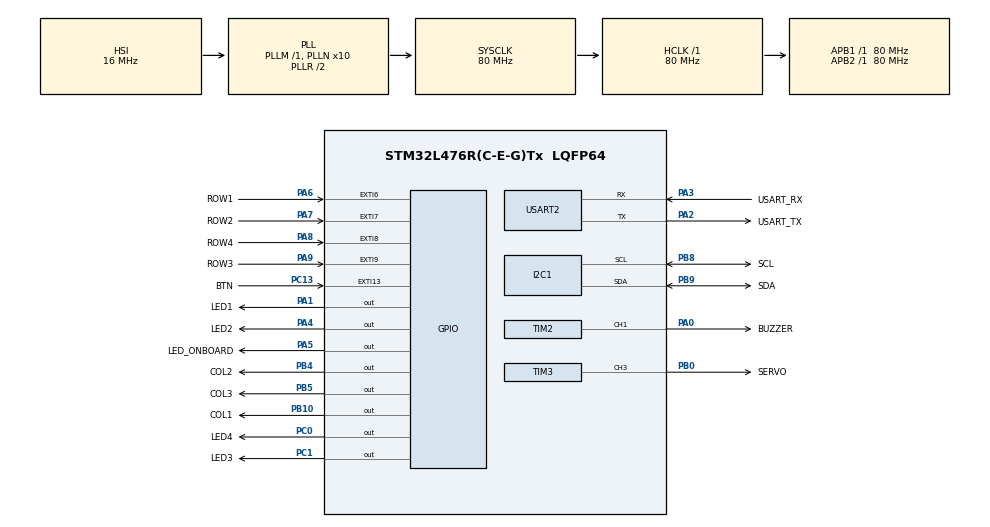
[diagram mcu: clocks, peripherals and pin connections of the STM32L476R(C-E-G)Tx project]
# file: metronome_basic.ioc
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I2C1.Timing=0x10D19CE4
Mcu.Family=STM32L4
Mcu.Name=STM32L476R(C-E-G)Tx
Mcu.Package=LQFP64
NVIC.EXTI15_10_IRQn=true\:0\:0\:false\:false\:true\:true\:true\:true
NVIC.EXTI9_5_IRQn=true\:0\:0\:false\:false\:true\:true\:true\:true
NVIC.PriorityGroup=NVIC_PRIORITYGROUP_4
NVIC.TIM5_IRQn=true\:0\:0\:false\:false\:true\:true\:true\:true
PA0.GPIO_Label=BUZZER
PA0.Signal=S_TIM2_CH1
PA1.GPIO_Label=LED1
PA1.Signal=GPIO_Output
PA13\ (JTMS-SWDIO).GPIO_Label=TMS
PA13\ (JTMS-SWDIO).Signal=SYS_JTMS-SWDIO
PA14\ (JTCK-SWCLK).GPIO_Label=TCK
PA14\ (JTCK-SWCLK).Signal=SYS_JTCK-SWCLK
PA2.GPIO_Label=USART_TX
PA2.GPIO_Mode=GPIO_MODE_AF_PP
PA2.GPIO_PuPd=GPIO_NOPULL
PA2.GPIO_Speed=GPIO_SPEED_FREQ_VERY_HIGH
PA2.Mode=Asynchronous
PA2.Signal=USART2_TX
PA3.GPIO_Label=USART_RX
PA3.GPIO_Mode=GPIO_MODE_AF_PP
PA3.GPIO_PuPd=GPIO_NOPULL
PA3.GPIO_Speed=GPIO_SPEED_FREQ_VERY_HIGH
PA3.Mode=Asynchronous
PA3.Signal=USART2_RX
PA4.GPIO_Label=LED2
PA4.Signal=GPIO_Output
PA5.GPIO_Label=LED_ONBOARD
PA5.Signal=GPIO_Output
PA6.GPIO_Label=ROW1
PA6.GPIO_ModeDefaultEXTI=GPIO_MODE_IT_FALLING
PA6.GPIO_PuPd=GPIO_PULLUP
PA6.Signal=GPXTI6
PA7.GPIO_Label=ROW2
PA7.GPIO_ModeDefaultEXTI=GPIO_MODE_IT_FALLING
PA7.GPIO_PuPd=GPIO_PULLUP
PA7.Signal=GPXTI7
PA8.GPIO_Label=ROW4
PA8.GPIO_ModeDefaultEXTI=GPIO_MODE_IT_FALLING
PA8.GPIO_PuPd=GPIO_PULLUP
PA8.Signal=GPXTI8
PA9.GPIO_Label=ROW3
PA9.GPIO_ModeDefaultEXTI=GPIO_MODE_IT_FALLING
PA9.GPIO_PuPd=GPIO_PULLUP
PA9.Signal=GPXTI9
PB0.GPIO_Label=SERVO
PB0.Signal=S_TIM3_CH3
PB10.GPIO_Label=COL1
PB10.Signal=GPIO_Output
PB3\ (JTDO-TRACESWO).GPIO_Label=SWO
PB3\ (JTDO-TRACESWO).Signal=SYS_JTDO-SWO
PB4\ (NJTRST).GPIO_Label=COL2
PB4\ (NJTRST).Signal=GPIO_Output
PB5.GPIO_Label=COL3
PB5.Signal=GPIO_Output
PB8.GPIO_Label=SCL
PB8.Mode=I2C
PB8.Signal=I2C1_SCL
PB9.GPIO_Label=SDA
PB9.Mode=I2C
PB9.Signal=I2C1_SDA
PC0.GPIO_Label=LED4
PC0.Signal=GPIO_Output
PC1.GPIO_Label=LED3
PC1.Signal=GPIO_Output
PC13.GPIO_Label=BTN
PC13.Signal=GPXTI13
PC14-OSC32_IN\ (PC14).Signal=RCC_OSC32_IN
PC15-OSC32_OUT\ (PC15).Signal=RCC_OSC32_OUT
PH0-OSC_IN\ (PH0).Signal=RCC_OSC_IN
PH1-OSC_OUT\ (PH1).Signal=RCC_OSC_OUT
ProjectManager.HeapSize=0x200
ProjectManager.StackSize=0x400
ProjectManager.TargetToolchain=STM32CubeIDE
RCC.ADCFreq_Value=64000000
RCC.AHBFreq_Value=80000000
RCC.APB1Freq_Value=80000000
RCC.APB1TimFreq_Value=80000000
RCC.APB2Freq_Value=80000000
RCC.APB2TimFreq_Value=80000000
RCC.CortexFreq_Value=80000000
RCC.HCLKFreq_Value=80000000
RCC.HSE_VALUE=8000000
RCC.HSI_VALUE=16000000
RCC.LSE_VALUE=32768
RCC.MSI_VALUE=4000000
RCC.PLLN=10
RCC.PLLSourceVirtual=RCC_PLLSOURCE_HSI
RCC.PREFETCH_ENABLE=1
RCC.SYSCLKFreq_VALUE=80000000
RCC.SYSCLKSource=RCC_SYSCLKSOURCE_PLLCLK
RCC.USBFreq_Value=64000000
RCC.VCOOutputFreq_Value=160000000
SH.S_TIM2_CH1.0=TIM2_CH1,PWM Generation1 CH1
SH.S_TIM3_CH3.0=TIM3_CH3,PWM Generation3 CH3
TIM2.Channel-PWM\ Generation1\ CH1=TIM_CHANNEL_1
TIM2.Period=999
TIM2.Prescaler=79
TIM3.Channel-PWM\ Generation3\ CH3=TIM_CHANNEL_3
TIM3.Period=999
TIM3.Prescaler=1599
TIM5.Period=19999
TIM5.Prescaler=7999
USART2.VirtualMode-Asynchronous=VM_ASYNC
VP_TIM2_VS_ClockSourceINT.Mode=Internal
VP_TIM3_VS_ClockSourceINT.Mode=Internal
VP_TIM5_VS_ClockSourceINT.Mode=Internal
board=NUCLEO-L476RG

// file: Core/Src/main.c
/* USER CODE BEGIN Header */
/**
  ******************************************************************************
  * @file           : main.c
  * @brief          : Main program body
  ******************************************************************************
  * @attention
  *
  * Copyright (c) 2026 STMicroelectronics.
  * All rights reserved.
  *
  * This software is licensed under terms that can be found in the LICENSE file
  * in the root directory of this software component.
  * If no LICENSE file comes with this software, it is provided AS-IS.
  *
  ******************************************************************************
  */
/* USER CODE END Header */
#include "main.h"

/* USER CODE BEGIN Includes */

#include "LCD1602_I2C.h"
#include "keypadMatrix.h"

#include <stdio.h>
#include <stdbool.h>

/* USER CODE END Includes */

/* USER CODE BEGIN PM */

//	LCD backlight macros
#define ON 1
#define OFF 0

//	Debug macro for UART debug printing
//#define DEBUG 1

/* USER CODE END PM */

I2C_HandleTypeDef hi2c1;

TIM_HandleTypeDef htim2;
TIM_HandleTypeDef htim3;
TIM_HandleTypeDef htim5;

UART_HandleTypeDef huart2;

/* USER CODE BEGIN PV */

//	Char buffer for BPM string
char buff[4];

//Char buffer for UART debug print
#ifdef DEBUG

char msg[50];

#endif

//	BPM variable for storing current bpm with intial value of BPM_MIN declared in main.h
volatile uint32_t bpm = BPM_MIN;

//	Flag variable for pending beat
static volatile bool beat_pending = false;

//	Flag variable for buzzer pulse
static volatile bool pulse_active = false;

//	Variable for storing systick val at start of buzzer pulse
static volatile uint32_t pulse_start_tick = 0;

//	Variable for storing systick val at start of button press
static volatile uint32_t last_btn_tick = 0;

//	Variable for storing systick val at start of keypad press
static volatile uint32_t last_keypad_tick = 0;

//	Variable for storing systick val at start of servo swing
static volatile uint32_t servo_start_tick = 0;

//	Flag variable for indicating changed BPM
static volatile bool bpm_changed = true;

//	Variable for storing systick val at start of refresh loop
static uint32_t last_time = 0;

//	Flag variable for servo pos
static bool servo_at_zero_pos = false;

//	Matrix column pins and their respective ports
uint16_t colsPins[NUMCOLS] = {COL1_Pin, COL2_Pin, COL3_Pin};
GPIO_TypeDef* colsPorts[NUMCOLS] = {GPIOB, GPIOB, GPIOB};

//	Matrix row pins and their respective ports
uint16_t rowPins[NUMROWS] = {ROW1_Pin, ROW2_Pin, ROW3_Pin, ROW4_Pin};
GPIO_TypeDef* rowPorts[NUMROWS] = {GPIOA, GPIOA, GPIOA, GPIOA};

//	Test board LED pins and their respective ports
uint16_t ledPins[4] = {LED1_Pin, LED2_Pin, LED3_Pin, LED4_Pin};
GPIO_TypeDef* ledPorts[4] = {GPIOA, GPIOA, GPIOC, GPIOC};

//	Flag variables for keypad entry
uint32_t entry = 0;
uint32_t digits = 0;

//	Flag variable for number of beats
uint8_t num_beats = 0;

//	Flag variable for keypad button press
static volatile bool keyPressed = false;

//	Enum for storing outputs
typedef enum
{
	BUZZER,
	LEDS,
	SERVO,
}
OUTPUT_MODE;

const char modes[3][6] = {"Buzz", "LEDs", "Servo"};

OUTPUT_MODE output_mode = BUZZER;	//	Default output buzzer

//	Lookup table for servo CCR value, mapped 190 beat values to 180 degrees of motion
const uint32_t ccr_table[BPM_MAX-BPM_MIN+1] = {
  125, 125, 124, 124, 123, 123, 123, 122, 122, 121, 121, 121, 120, 120, 119, 119, 119, 118, 118, 117,
  117, 117, 116, 116, 115, 115, 115, 114, 114, 113, 113, 113, 112, 112, 112, 111, 111, 110, 110, 110,
  109, 109, 108, 108, 108, 107, 107, 106, 106, 106, 105, 105, 104, 104, 104, 103, 103, 102, 102, 102,
  101, 101, 100, 100, 100,  99,  99,  98,  98,  98,  97,  97,  96,  96,  96,  95,  95,  94,  94,  94,
   93,  93,  92,  92,  92,  91,  91,  90,  90,  90,  89,  89,  88,  88,  88,  87,  87,  87,  86,  86,
   85,  85,  85,  84,  84,  83,  83,  83,  82,  82,  81,  81,  81,  80,  80,  79,  79,  79,  78,  78,
   77,  77,  77,  76,  76,  75,  75,  75,  74,  74,  73,  73,  73,  72,  72,  71,  71,  71,  70,  70,
   69,  69,  69,  68,  68,  67,  67,  67,  66,  66,  65,  65,  65,  64,  64,  63,  63,  63,  62,  62,
   62,  61,  61,  60,  60,  60,  59,  59,  58,  58,  58,  57,  57,  56,  56,  56,  55,  55,  54,  54,
   54,  53,  53,  52,  52,  52,  51,  51,  50,  50, 50
};

//	Lookup table for servo delay value, with decreasing delay based on current BPM
const uint32_t delay_table[BPM_MAX-BPM_MIN+1] = {
  2000, 1992, 1982, 1974, 1964, 1956, 1946, 1938, 1928, 1920, 1910, 1902, 1892, 1884, 1874, 1866, 1856, 1848, 1838, 1830,
  1820, 1812, 1802, 1794, 1784, 1776, 1766, 1758, 1748, 1740, 1730, 1722, 1712, 1704, 1694, 1686, 1676, 1668, 1658, 1650,
  1640, 1632, 1622, 1614, 1604, 1596, 1586, 1578, 1568, 1560, 1550, 1542, 1532, 1524, 1514, 1506, 1496, 1488, 1478, 1470,
  1460, 1452, 1442, 1434, 1424, 1416, 1406, 1398, 1388, 1380, 1370, 1362, 1352, 1344, 1334, 1326, 1316, 1308, 1298, 1290,
  1280, 1272, 1262, 1254, 1244, 1236, 1226, 1218, 1208, 1200, 1190, 1182, 1172, 1164, 1154, 1146, 1136, 1128, 1118, 1110,
  1100, 1092, 1082, 1074, 1064, 1056, 1046, 1038, 1028, 1020, 1010, 1002,  992,  984,  974,  966,  956,  948,  938,  930,
   920,  912,  902,  894,  884,  876,  866,  858,  848,  840,  830,  822,  812,  804,  794,  786,  776,  768,  758,  750,
   740,  732,  722,  714,  704,  696,  686,  678,  668,  660,  650,  642,  632,  624,  614,  606,  596,  588,  578,  570,
   560,  552,  542,  534,  524,  516,  506,  498,  488,  480,  470,  462,  452,  444,  434,  426,  416,  408,  398,  390,
   380,  372,  362,  354,  344,  336,  326,  318,  308,  300,  300
};

/* USER CODE END PV */

void SystemClock_Config(void);
static void MX_GPIO_Init(void);
static void MX_I2C1_Init(void);
static void MX_TIM5_Init(void);
static void MX_TIM3_Init(void);
static void MX_TIM2_Init(void);
static void MX_USART2_UART_Init(void);

/* USER CODE BEGIN PFP */

static inline void MetronomeUpdatePeriod(void);
static inline void BuzzerStartPulse(void);
static inline void BuzzerStopPulse(void);
static inline void disableBuzzer(void);
static inline void enableBuzzer(void);
static inline char* BPMtoCharArray(char* buff);
static inline void updateLCD(void);
static inline void clearLEDS(void);
static inline void updateLEDS(void);

/* USER CODE END PFP */

/* USER CODE BEGIN 0 */

/**
 * @brief  Recomputes and applies the TIM5 auto-reload value for the current BPM.
 * @details Converts the global bpm into timer ticks using
 *          `(60000 * TICKS_PER_MS) / bpm`, resets the TIM5 counter to 0 and
 *          loads `period_ticks - 1` into the auto-reload register. Resetting
 *          the counter restarts the beat interval so a new tempo takes effect
 *          immediately.
 * @note   Reads the global bpm; call it after any BPM change.
 * @return None
 */
static inline void MetronomeUpdatePeriod(void)
{
	uint32_t period_ticks = (60000UL * TICKS_PER_MS) / bpm;
	__HAL_TIM_SET_COUNTER(&htim5, 0);
	__HAL_TIM_SET_AUTORELOAD(&htim5, period_ticks-1);
}

/**
 * @brief  Starts a buzzer pulse (and lights the indicator LED).
 * @details Records the pulse start time from the SysTick (pulse_start_tick),
 *          sets pulse_active, loads a compare value of 500 into TIM2 CH1
 *          (50 % duty with a period of 999) and starts PWM output. The pulse
 *          is ended by BuzzerStopPulse() from the main loop once
 *          PULSE_DUR_MS has elapsed.
 * @note   Drives PA5 high directly using GPIO_PIN_5.
 * @return None
 */
static inline void BuzzerStartPulse(void)
{
	pulse_start_tick = HAL_GetTick();
	pulse_active = true;
	__HAL_TIM_SET_COMPARE(&htim2, TIM_CHANNEL_1, 500);
	HAL_TIM_PWM_Start(&htim2, TIM_CHANNEL_1);
	HAL_GPIO_WritePin(GPIOA, GPIO_PIN_5, GPIO_PIN_SET);
}

/**
 * @brief  Stops the buzzer pulse and turns off the indicator LED.
 * @details Stops TIM2 CH1 PWM output, clears the LED on LED_ONBOARD_Pin
 *          and resets pulse_active.
 * @return None
 */
static inline void BuzzerStopPulse(void)
{
	HAL_TIM_PWM_Stop(&htim2, TIM_CHANNEL_1);
	HAL_GPIO_WritePin(GPIOA, GPIO_PIN_5, GPIO_PIN_RESET);
	pulse_active = false;
}

/**
 * @brief  Disables the buzzer by de-initialising TIM2 PWM.
 * @details Calls HAL_TIM_PWM_DeInit() on htim2.
 * @return None
 */
static inline void disableBuzzer(void)
{
	HAL_TIM_PWM_Stop(&htim2, TIM_CHANNEL_1);
	HAL_TIM_PWM_DeInit(&htim2);
}

/**
 * @brief  Re-enables the buzzer by re-initialising TIM2 PWM.
 * @details Calls HAL_TIM_PWM_Init() on ::htim2 and then
 *          MetronomeUpdatePeriod() to resynchronise the beat timer.
 * @return None
 */
static inline void enableBuzzer(void)
{
	HAL_TIM_PWM_Init(&htim2);
	MetronomeUpdatePeriod();
}

/**
 * @brief   Converts the global @c bpm value to a 3-character, right-aligned
 *          string.
 * @details Extracts the hundreds, tens and ones digits of @c bpm and writes
 *          them as ASCII into @p buff, followed by a null terminator. If the
 *          hundreds digit is zero and the tens digit is non-zero, the
 *          hundreds character is replaced with a space (e.g. 42 -> " 42").
 *
 * @note    @p buff must be at least 4 bytes (3 digits + '\0'). No bounds
 *          checking is performed.
 * @note    Only values 0-999 are represented correctly.
 * @note    Values below 10 are not blanked and give "00X" (e.g. 5 -> "005").
 *          In practice this is avoided if @c bpm is always >= BPM_MIN.
 *
 * @param[out] buff  Destination character buffer (min. size 4).
 *
 * @return  Pointer to @p buff, allowing the call to be used inline,
 *          e.g. in a display or print function.
 *
 * @see     handleKey(), BPM_MIN, BPM_MAX
 */
static inline char* BPMtoCharArray(char* buff)
{
	buff[0] = '0' + ((bpm / 100) % 100);	//	Get 100s
	buff[1] = '0' + ((bpm / 10) % 10);		//	Get 10s
	buff[2] = '0' + (bpm % 10);				//	Get 1s

	if (buff[0] == '0' && buff[1] > '0')	// Check for 0 in hundreds place, replace with empty string
		buff[0] = ' ';

	buff[3] = '\0';							//	Null terminate string

	return buff;
}

/**
 * @brief  Redraws the 16x2 I2C LCD with the current BPM and tempo marking.
 * @details Clears the display, then writes:
 *          - Row 0: `BPM: <bpm>`
 *          - Row 1: `Tempo:<name>`
 *
 *          The tempo name is chosen from ::bpm:
 *          | BPM range | Marking    |
 *          |-----------|------------|
 *          | <= 60     | Grave      |
 *          | 61-75     | Adagio     |
 *          | 76-110    | Andante    |
 *          | 111-120   | Moderato   |
 *          | 121-170   | Allegro    |
 *          | 171-200   | Presto     |
 *          | > 200     | Prestisimo |
 * @note   Uses the shared buff character buffer for the BPM text.
 * @return None
 */
static inline void updateLCD(void)
{
	lcd_clear();

	lcd_put_cur(0, 0);
	lcd_send_string(BPMtoCharArray(buff));

	lcd_put_cur(0, 3);
	lcd_send_string("BPM");

	lcd_put_cur(0, 7);
	lcd_send_string("Out:");

	lcd_put_cur(0, 11);
	lcd_send_string(modes[output_mode]);

	lcd_put_cur(1, 0);
	lcd_send_string("Tempo:");
	lcd_put_cur(1, 6);

	if (bpm <= 60)                    { lcd_send_string("Grave"); }
	else if (bpm > 60 && bpm <= 75)   { lcd_send_string("Adagio"); }
	else if (bpm > 75 && bpm <= 110)  { lcd_send_string("Andante"); }
	else if (bpm > 110 && bpm <= 120) { lcd_send_string("Moderato"); }
	else if (bpm > 120 && bpm <= 170) { lcd_send_string("Allegro"); }
	else if (bpm > 170 && bpm <= 200) { lcd_send_string("Presto"); }
	else  							  { lcd_send_string("Prestisimo"); }

}

/**
 * @brief Turns off all four LEDs by setting their GPIO pins low.
 * @return None
 */
static inline void clearLEDS(void)
{
	for (uint8_t i = 0; i < 4; i++)
		HAL_GPIO_WritePin(ledPorts[i], ledPins[i], GPIO_PIN_RESET);	//	Clear all leds
}

/**
 * @brief  Updates the four beat-indicator LEDs from num_beats.
 * @details Clears all LEDs listed in ledPorts / ledPins, then sets the
 *          first num_beats of them, giving a "filling bar" effect across
 *          the beats of a bar.
 * @return None
 */
static inline void updateLEDS(void)
{
	clearLEDS();

	for (uint8_t i = 0; i < num_beats; i++)
		HAL_GPIO_WritePin(ledPorts[i], ledPins[i], GPIO_PIN_SET);	//	Set leds according to num_beats value
}

/* USER CODE END 0 */

int main(void)
{

  /* MCU Configuration--------------------------------------------------------*/

  /* Reset of all peripherals, Initializes the Flash interface and the Systick. */
  HAL_Init();

  /* Configure the system clock */
  SystemClock_Config();

  /* Initialize all configured peripherals */
  MX_GPIO_Init();
  MX_I2C1_Init();
  MX_TIM5_Init();
  MX_TIM3_Init();
  MX_TIM2_Init();
  MX_USART2_UART_Init();
  /* USER CODE BEGIN 2 */

  lcd_init(&hi2c1);		//	Enable I2C for LCD and turn on backlight
  lcd_backlight(ON);

  lcd_put_cur(0, 5);			//	Display loading screen
  lcd_send_string("STM32");
  lcd_put_cur(1, 3);
  lcd_send_string("Metronome");

  HAL_Delay(1000);

  MetronomeUpdatePeriod();		//	Initially set metronome period based on default BPM of 30

  HAL_TIM_Base_Start_IT(&htim5);	//	Start TIM5 for metronome timekeeping

  HAL_TIM_PWM_Start(&htim3, TIM_CHANNEL_3);	//	Enable TIM3 PWM output for servo

  __HAL_TIM_SET_COMPARE(&htim3, TIM_CHANNEL_3, 25);	// Set servo to 0 deg initially
  HAL_Delay(1000);

  /* USER CODE END 2 */

  /* Infinite loop */
  /* USER CODE BEGIN WHILE */
  while (1)
  {
	  uint32_t now = HAL_GetTick();

    /* USER CODE END WHILE */

    /* USER CODE BEGIN 3 */

	  if (bpm_changed)				//	Handling change in bpm in main
	  {
		  bpm_changed = false;		//	Reset bpm_changed flag
		  MetronomeUpdatePeriod();	//	Update metronome period based on current BPM
	  }

	  if (output_mode == BUZZER && pulse_active && (now - pulse_start_tick >= PULSE_DUR_MS))		//	Using systick to disable buzzer pulse after specified time when output mode set to buzzer
	  {
		  BuzzerStopPulse();
	  }

	  if (beat_pending)						//	Handling pending beat in main
	  {
		  beat_pending = false;				//	Reset beat_pending flag

		  HAL_GPIO_TogglePin(GPIOA, GPIO_PIN_5);	//	Toggle indicator LED

		  if (output_mode == BUZZER)		//	When output mode set to 'BUZZER', enable buzzer pulse on pending beat
		  {
			  clearLEDS();
			  enableBuzzer();
			  BuzzerStartPulse();
		  }
		  else if (output_mode == SERVO)	//	When output mode set to 'SERVO', enable servo swing on pending beat
		  {
			  clearLEDS();
			  disableBuzzer();

			  if (now - servo_start_tick >= delay_table[bpm-BPM_MIN])
			  {
				  servo_start_tick += delay_table[bpm-BPM_MIN];							// Lookup appropriate delay from delay table

				  if (servo_at_zero_pos)
				  {
					  __HAL_TIM_SET_COMPARE(&htim3, TIM_CHANNEL_3, 25);						// 0 degrees
				  }
				  else
				  {
					  __HAL_TIM_SET_COMPARE(&htim3, TIM_CHANNEL_3, ccr_table[bpm-BPM_MIN]);	// BPM-mapped degrees
				  }
				  servo_at_zero_pos = !servo_at_zero_pos;
			  }
		  }
		  else if (output_mode == LEDS)		//	Update LEDs with current quarter beat if output is set to 'LEDS' from output_mode enum
		  {
			  disableBuzzer();
			  if (num_beats < 4)	// Check number of beats, increment if < 4 otherwise reset to 0
			  {
				  num_beats++;
			  }
			  else
			  {
				  num_beats = 1;
			  }

			  updateLEDS();
		  }
	  }

	  if (now - last_time > UPDATE_TIME)	//	Refresh loop using systick instead of delay
	  {
		  last_time = now;

		  updateLCD();						//	Update LCD with current BPM and tempo
	  }

	  if (keyPressed)						//	Handling pressed matrix keys in main
	  {
	      keyPressed = false;
	      bpm_changed = true;

	      char k = scanMatrix();			//	Scan through keypad and return currently pressed key

	      if (k != '\0')
	      {
	          bool done = handleKey(k);

			#ifdef DEBUG					//	Conditionally-compiled UART printing of keypad pressed keys for debugging purposes

	          int n = done ? snprintf((char*)msg, sizeof(msg), "BPM set: %lu\r\n", bpm) : snprintf((char*)msg, sizeof(msg), "Entry: %lu\r\n", entry);
	          HAL_UART_Transmit(&huart2, msg, n, 100);

			#endif
	      }
	  }

  }
  /* USER CODE END 3 */
}

void SystemClock_Config(void)
{
  RCC_OscInitTypeDef RCC_OscInitStruct = {0};
  RCC_ClkInitTypeDef RCC_ClkInitStruct = {0};

  /** Configure the main internal regulator output voltage
  */
  if (HAL_PWREx_ControlVoltageScaling(PWR_REGULATOR_VOLTAGE_SCALE1) != HAL_OK)
  {
    Error_Handler();
  }

  /** Initializes the RCC Oscillators according to the specified parameters
  * in the RCC_OscInitTypeDef structure.
  */
  RCC_OscInitStruct.OscillatorType = RCC_OSCILLATORTYPE_HSI;
  RCC_OscInitStruct.HSIState = RCC_HSI_ON;
  RCC_OscInitStruct.HSICalibrationValue = RCC_HSICALIBRATION_DEFAULT;
  RCC_OscInitStruct.PLL.PLLState = RCC_PLL_ON;
  RCC_OscInitStruct.PLL.PLLSource = RCC_PLLSOURCE_HSI;
  RCC_OscInitStruct.PLL.PLLM = 1;
  RCC_OscInitStruct.PLL.PLLN = 10;
  RCC_OscInitStruct.PLL.PLLP = RCC_PLLP_DIV7;
  RCC_OscInitStruct.PLL.PLLQ = RCC_PLLQ_DIV2;
  RCC_OscInitStruct.PLL.PLLR = RCC_PLLR_DIV2;
  if (HAL_RCC_OscConfig(&RCC_OscInitStruct) != HAL_OK)
  {
    Error_Handler();
  }

  /** Initializes the CPU, AHB and APB buses clocks
  */
  RCC_ClkInitStruct.ClockType = RCC_CLOCKTYPE_HCLK|RCC_CLOCKTYPE_SYSCLK
                              |RCC_CLOCKTYPE_PCLK1|RCC_CLOCKTYPE_PCLK2;
  RCC_ClkInitStruct.SYSCLKSource = RCC_SYSCLKSOURCE_PLLCLK;
  RCC_ClkInitStruct.AHBCLKDivider = RCC_SYSCLK_DIV1;
  RCC_ClkInitStruct.APB1CLKDivider = RCC_HCLK_DIV1;
  RCC_ClkInitStruct.APB2CLKDivider = RCC_HCLK_DIV1;

  if (HAL_RCC_ClockConfig(&RCC_ClkInitStruct, FLASH_LATENCY_4) != HAL_OK)
  {
    Error_Handler();
  }
}

static void MX_I2C1_Init(void)
{

  hi2c1.Instance = I2C1;
  hi2c1.Init.Timing = 0x10D19CE4;
  hi2c1.Init.OwnAddress1 = 0;
  hi2c1.Init.AddressingMode = I2C_ADDRESSINGMODE_7BIT;
  hi2c1.Init.DualAddressMode = I2C_DUALADDRESS_DISABLE;
  hi2c1.Init.OwnAddress2 = 0;
  hi2c1.Init.OwnAddress2Masks = I2C_OA2_NOMASK;
  hi2c1.Init.GeneralCallMode = I2C_GENERALCALL_DISABLE;
  hi2c1.Init.NoStretchMode = I2C_NOSTRETCH_DISABLE;
  if (HAL_I2C_Init(&hi2c1) != HAL_OK)
  {
    Error_Handler();
  }

  /** Configure Analogue filter
  */
  if (HAL_I2CEx_ConfigAnalogFilter(&hi2c1, I2C_ANALOGFILTER_ENABLE) != HAL_OK)
  {
    Error_Handler();
  }

  /** Configure Digital filter
  */
  if (HAL_I2CEx_ConfigDigitalFilter(&hi2c1, 0) != HAL_OK)
  {
    Error_Handler();
  }

}

static void MX_TIM2_Init(void)
{

  TIM_ClockConfigTypeDef sClockSourceConfig = {0};
  TIM_MasterConfigTypeDef sMasterConfig = {0};
  TIM_OC_InitTypeDef sConfigOC = {0};

  htim2.Instance = TIM2;
  htim2.Init.Prescaler = 79;
  htim2.Init.CounterMode = TIM_COUNTERMODE_UP;
  htim2.Init.Period = 999;
  htim2.Init.ClockDivision = TIM_CLOCKDIVISION_DIV1;
  htim2.Init.AutoReloadPreload = TIM_AUTORELOAD_PRELOAD_DISABLE;
  if (HAL_TIM_Base_Init(&htim2) != HAL_OK)
  {
    Error_Handler();
  }
  sClockSourceConfig.ClockSource = TIM_CLOCKSOURCE_INTERNAL;
  if (HAL_TIM_ConfigClockSource(&htim2, &sClockSourceConfig) != HAL_OK)
  {
    Error_Handler();
  }
  if (HAL_TIM_PWM_Init(&htim2) != HAL_OK)
  {
    Error_Handler();
  }
  sMasterConfig.MasterOutputTrigger = TIM_TRGO_RESET;
  sMasterConfig.MasterSlaveMode = TIM_MASTERSLAVEMODE_DISABLE;
  if (HAL_TIMEx_MasterConfigSynchronization(&htim2, &sMasterConfig) != HAL_OK)
  {
    Error_Handler();
  }
  sConfigOC.OCMode = TIM_OCMODE_PWM1;
  sConfigOC.Pulse = 0;
  sConfigOC.OCPolarity = TIM_OCPOLARITY_HIGH;
  sConfigOC.OCFastMode = TIM_OCFAST_DISABLE;
  if (HAL_TIM_PWM_ConfigChannel(&htim2, &sConfigOC, TIM_CHANNEL_1) != HAL_OK)
  {
    Error_Handler();
  }
  HAL_TIM_MspPostInit(&htim2);

}

static void MX_TIM3_Init(void)
{

  TIM_ClockConfigTypeDef sClockSourceConfig = {0};
  TIM_MasterConfigTypeDef sMasterConfig = {0};
  TIM_OC_InitTypeDef sConfigOC = {0};

  htim3.Instance = TIM3;
  htim3.Init.Prescaler = 1599;
  htim3.Init.CounterMode = TIM_COUNTERMODE_UP;
  htim3.Init.Period = 999;
  htim3.Init.ClockDivision = TIM_CLOCKDIVISION_DIV1;
  htim3.Init.AutoReloadPreload = TIM_AUTORELOAD_PRELOAD_DISABLE;
  if (HAL_TIM_Base_Init(&htim3) != HAL_OK)
  {
    Error_Handler();
  }
  sClockSourceConfig.ClockSource = TIM_CLOCKSOURCE_INTERNAL;
  if (HAL_TIM_ConfigClockSource(&htim3, &sClockSourceConfig) != HAL_OK)
  {
    Error_Handler();
  }
  if (HAL_TIM_PWM_Init(&htim3) != HAL_OK)
  {
    Error_Handler();
  }
  sMasterConfig.MasterOutputTrigger = TIM_TRGO_RESET;
  sMasterConfig.MasterSlaveMode = TIM_MASTERSLAVEMODE_DISABLE;
  if (HAL_TIMEx_MasterConfigSynchronization(&htim3, &sMasterConfig) != HAL_OK)
  {
    Error_Handler();
  }
  sConfigOC.OCMode = TIM_OCMODE_PWM1;
  sConfigOC.Pulse = 0;
  sConfigOC.OCPolarity = TIM_OCPOLARITY_HIGH;
  sConfigOC.OCFastMode = TIM_OCFAST_DISABLE;
  if (HAL_TIM_PWM_ConfigChannel(&htim3, &sConfigOC, TIM_CHANNEL_3) != HAL_OK)
  {
    Error_Handler();
  }
  HAL_TIM_MspPostInit(&htim3);

}

static void MX_TIM5_Init(void)
{

  TIM_ClockConfigTypeDef sClockSourceConfig = {0};
  TIM_MasterConfigTypeDef sMasterConfig = {0};

  htim5.Instance = TIM5;
  htim5.Init.Prescaler = 7999;
  htim5.Init.CounterMode = TIM_COUNTERMODE_UP;
  htim5.Init.Period = 19999;
  htim5.Init.ClockDivision = TIM_CLOCKDIVISION_DIV1;
  htim5.Init.AutoReloadPreload = TIM_AUTORELOAD_PRELOAD_DISABLE;
  if (HAL_TIM_Base_Init(&htim5) != HAL_OK)
  {
    Error_Handler();
  }
  sClockSourceConfig.ClockSource = TIM_CLOCKSOURCE_INTERNAL;
  if (HAL_TIM_ConfigClockSource(&htim5, &sClockSourceConfig) != HAL_OK)
  {
    Error_Handler();
  }
  sMasterConfig.MasterOutputTrigger = TIM_TRGO_RESET;
  sMasterConfig.MasterSlaveMode = TIM_MASTERSLAVEMODE_DISABLE;
  if (HAL_TIMEx_MasterConfigSynchronization(&htim5, &sMasterConfig) != HAL_OK)
  {
    Error_Handler();
  }

}

static void MX_USART2_UART_Init(void)
{

  huart2.Instance = USART2;
  huart2.Init.BaudRate = 115200;
  huart2.Init.WordLength = UART_WORDLENGTH_8B;
  huart2.Init.StopBits = UART_STOPBITS_1;
  huart2.Init.Parity = UART_PARITY_NONE;
  huart2.Init.Mode = UART_MODE_TX_RX;
  huart2.Init.HwFlowCtl = UART_HWCONTROL_NONE;
  huart2.Init.OverSampling = UART_OVERSAMPLING_16;
  huart2.Init.OneBitSampling = UART_ONE_BIT_SAMPLE_DISABLE;
  huart2.AdvancedInit.AdvFeatureInit = UART_ADVFEATURE_NO_INIT;
  if (HAL_UART_Init(&huart2) != HAL_OK)
  {
    Error_Handler();
  }

}

static void MX_GPIO_Init(void)
{
  GPIO_InitTypeDef GPIO_InitStruct = {0};

  /* GPIO Ports Clock Enable */
  __HAL_RCC_GPIOC_CLK_ENABLE();
  __HAL_RCC_GPIOH_CLK_ENABLE();
  __HAL_RCC_GPIOA_CLK_ENABLE();
  __HAL_RCC_GPIOB_CLK_ENABLE();

  /*Configure GPIO pin Output Level */
  HAL_GPIO_WritePin(GPIOC, LED4_Pin|LED3_Pin, GPIO_PIN_RESET);

  /*Configure GPIO pin Output Level */
  HAL_GPIO_WritePin(GPIOA, LED1_Pin|LED2_Pin|LED_ONBOARD_Pin, GPIO_PIN_RESET);

  /*Configure GPIO pin Output Level */
  HAL_GPIO_WritePin(GPIOB, COL1_Pin|COL2_Pin|COL3_Pin, GPIO_PIN_RESET);

  /*Configure GPIO pin : BTN_Pin */
  GPIO_InitStruct.Pin = BTN_Pin;
  GPIO_InitStruct.Mode = GPIO_MODE_IT_RISING;
  GPIO_InitStruct.Pull = GPIO_NOPULL;
  HAL_GPIO_Init(BTN_GPIO_Port, &GPIO_InitStruct);

  /*Configure GPIO pins : LED4_Pin LED3_Pin */
  GPIO_InitStruct.Pin = LED4_Pin|LED3_Pin;
  GPIO_InitStruct.Mode = GPIO_MODE_OUTPUT_PP;
  GPIO_InitStruct.Pull = GPIO_NOPULL;
  GPIO_InitStruct.Speed = GPIO_SPEED_FREQ_LOW;
  HAL_GPIO_Init(GPIOC, &GPIO_InitStruct);

  /*Configure GPIO pins : LED1_Pin LED2_Pin LED_ONBOARD_Pin */
  GPIO_InitStruct.Pin = LED1_Pin|LED2_Pin|LED_ONBOARD_Pin;
  GPIO_InitStruct.Mode = GPIO_MODE_OUTPUT_PP;
  GPIO_InitStruct.Pull = GPIO_NOPULL;
  GPIO_InitStruct.Speed = GPIO_SPEED_FREQ_LOW;
  HAL_GPIO_Init(GPIOA, &GPIO_InitStruct);

  /*Configure GPIO pins : ROW1_Pin ROW2_Pin ROW4_Pin ROW3_Pin */
  GPIO_InitStruct.Pin = ROW1_Pin|ROW2_Pin|ROW4_Pin|ROW3_Pin;
  GPIO_InitStruct.Mode = GPIO_MODE_IT_FALLING;
  GPIO_InitStruct.Pull = GPIO_PULLUP;
  HAL_GPIO_Init(GPIOA, &GPIO_InitStruct);

  /*Configure GPIO pins : COL1_Pin COL2_Pin COL3_Pin */
  GPIO_InitStruct.Pin = COL1_Pin|COL2_Pin|COL3_Pin;
  GPIO_InitStruct.Mode = GPIO_MODE_OUTPUT_PP;
  GPIO_InitStruct.Pull = GPIO_NOPULL;
  GPIO_InitStruct.Speed = GPIO_SPEED_FREQ_LOW;
  HAL_GPIO_Init(GPIOB, &GPIO_InitStruct);

  /* EXTI interrupt init*/
  HAL_NVIC_SetPriority(EXTI9_5_IRQn, 0, 0);
  HAL_NVIC_EnableIRQ(EXTI9_5_IRQn);

  HAL_NVIC_SetPriority(EXTI15_10_IRQn, 0, 0);
  HAL_NVIC_EnableIRQ(EXTI15_10_IRQn);

}

/* USER CODE BEGIN 4 */

void HAL_TIM_PeriodElapsedCallback(TIM_HandleTypeDef *htim)
{
	if (htim->Instance == TIM5)	// When TIM5 interrupts set beat_pending flag variable for main
	{
		beat_pending = true;
	}
}

void HAL_GPIO_EXTI_Callback(uint16_t gpio)
{
	uint32_t now = HAL_GetTick();

	if (gpio == GPIO_PIN_13)	// Onboard user button connected to PC13
	{
		if ((now - last_btn_tick) >= DEBOUNCE_MS)	// Debounce switch using systick timer
		{
			last_btn_tick = now;

			(output_mode < 2) ? output_mode++ : (output_mode = 0);	// Toggle through output modes on button press, wrap at 3
		}

	}

	if (gpio == ROW1_Pin || gpio == ROW2_Pin || gpio == ROW3_Pin || gpio == ROW4_Pin)	// Keypad matrix row pins connected to PA6, PA7, PA9 and PA8 respectively
	{
		if (now - last_keypad_tick >= DEBOUNCE_MS)	// Debounce using systick timer
		{
			last_keypad_tick = now;
			keyPressed = true;	// Set keyPressed flag variable for main
		}
	}
}

/* USER CODE END 4 */

void Error_Handler(void)
{
  __disable_irq();
  while (1)
  {
  }
}
